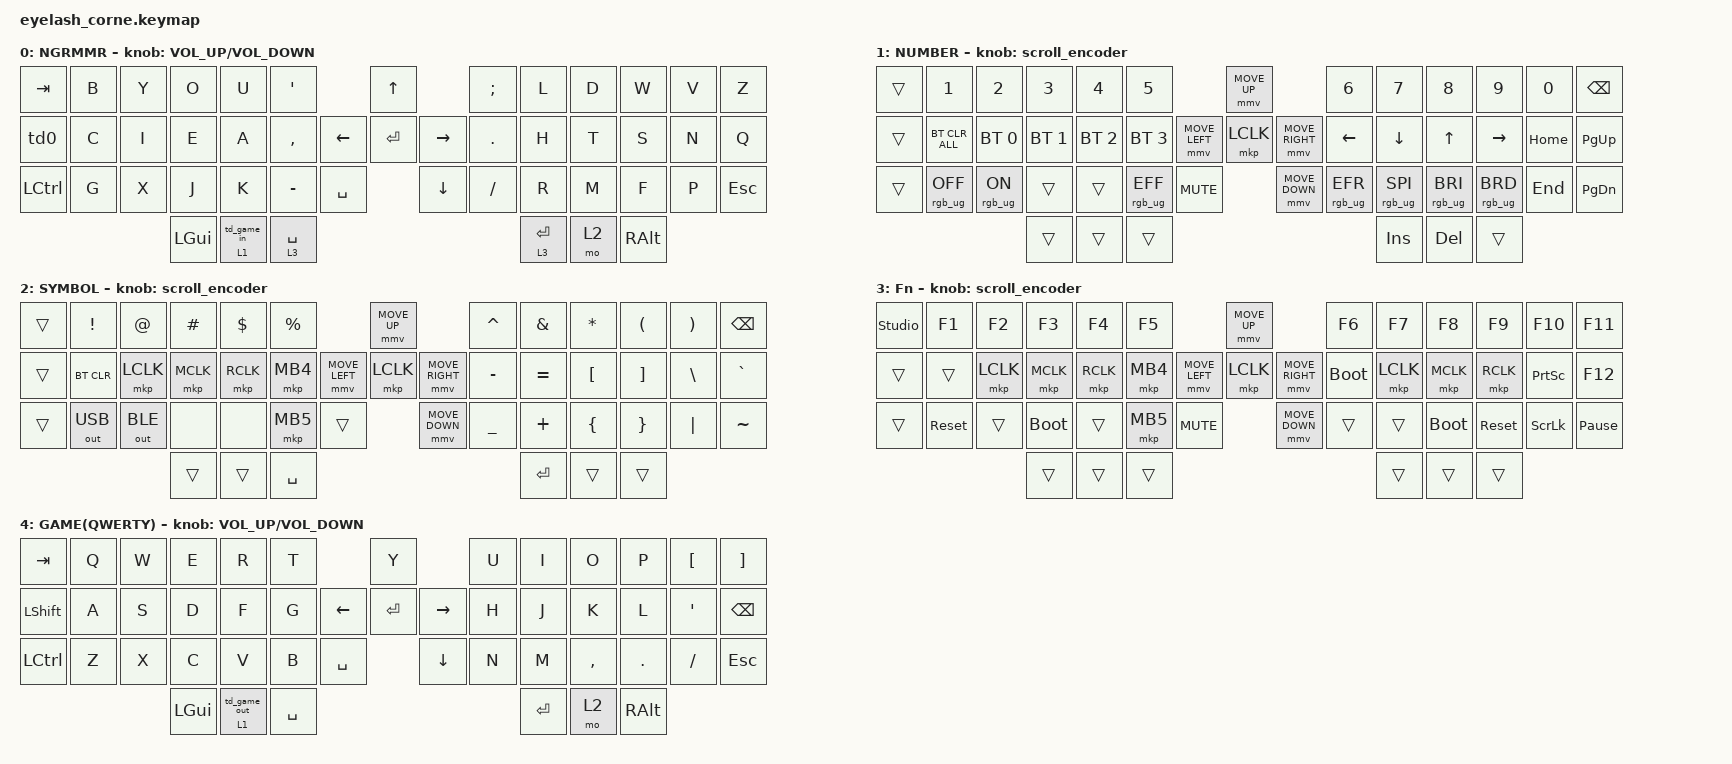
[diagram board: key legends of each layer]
#define ZMK_POINTING_DEFAULT_MOVE_VAL 1200  // 600
#define ZMK_POINTING_DEFAULT_SCRL_VAL 25   // 10

#include <input/processors.dtsi>
#include <zephyr/dt-bindings/input/input-event-codes.h>
#include <behaviors.dtsi>
#include <dt-bindings/zmk/bt.h>
#include <dt-bindings/zmk/keys.h>
#include <dt-bindings/zmk/outputs.h>
#include <dt-bindings/zmk/pointing.h>
#include <dt-bindings/zmk/rgb.h>

&mmv_input_listener { input-processors = <&zip_xy_scaler 2 1>; };

&msc_input_listener { input-processors = <&zip_scroll_scaler 2 1>; };

&msc {
    acceleration-exponent = <1>;      // 0
    time-to-max-speed-ms = <100>;       // 300
    delay-ms = <0>;                   // 0
};

&mmv {
    time-to-max-speed-ms = <500>;
    acceleration-exponent = <1>;
    trigger-period-ms = <16>;
};

&soft_off { hold-time-ms = <2000>; };

/ {
    behaviors {
        td0: td0 {
            compatible = "zmk,behavior-tap-dance";
            display-name = "Shift/Caps Lock Tap Dance";
            #binding-cells = <0>;
            bindings = <&kp LEFT_SHIFT>, <&kp CAPS>;
        };
                td_game_in: td_game_in {
            compatible = "zmk,behavior-tap-dance";
            display-name = "Tap: trans / Double-tap: GO GAME";
            #binding-cells = <0>;
            tapping-term-ms = <250>;
            bindings = <&trans>, <&to 4>;
        };

        ht_game_in: ht_game_in {
            compatible = "zmk,behavior-hold-tap";
            display-name = "Hold: NUMBER / TapDance: GO GAME";
            #binding-cells = <2>;
            flavor = "tap-preferred";
            tapping-term-ms = <200>;
            quick-tap-ms = <175>;
            bindings = <&mo &td_game_in>;
        };

        td_game_out: td_game_out {
            compatible = "zmk,behavior-tap-dance";
            display-name = "Tap: trans / Double-tap: GO BASE";
            #binding-cells = <0>;
            tapping-term-ms = <250>;
            bindings = <&trans>, <&to 0>;
        };

        ht_game_out: ht_game_out {
            compatible = "zmk,behavior-hold-tap";
            display-name = "Hold: NUMBER / TapDance: GO BASE";
            #binding-cells = <2>;
            flavor = "tap-preferred";
            tapping-term-ms = <200>;
            quick-tap-ms = <175>;
            bindings = <&mo &td_game_out>;
        };

    };

    rgb_encoder: rgb_encoder {
        compatible = "zmk,behavior-sensor-rotate";
        #sensor-binding-cells = <0>;
        bindings = <&rgb_ug RGB_BRI>, <&rgb_ug RGB_BRD>;
    };

    scroll_encoder: scroll_encoder {
        compatible = "zmk,behavior-sensor-rotate";
        #sensor-binding-cells = <0>;
        bindings = <&msc SCRL_DOWN>, <&msc SCRL_UP>;

        tap-ms = <100>;
    };

    combos {
        compatible = "zmk,combos";

        softoff {
            bindings = <&soft_off>;
            key-positions = <1 15 29>;
        };
    };

    keymap {
        compatible = "zmk,keymap";

        default_layer {
            display-name = "NGRMMR";
            bindings = <
&kp TAB    &kp B  &kp Y  &kp O     &kp U  &kp SQT                               &kp UP                 &kp SEMI     &kp L  &kp D      &kp W    &kp V  &kp Z
&td0       &kp C  &kp I  &kp E     &kp A  &kp COMMA                    &kp LEFT  &kp ENTER  &kp RIGHT  &kp DOT      &kp H  &kp T      &kp S    &kp N  &kp Q
&kp LCTRL  &kp G  &kp X  &kp J     &kp K  &kp MINUS        &kp SPACE              &kp DOWN             &kp FSLH     &kp R  &kp M      &kp F    &kp P  &kp ESC
                         &kp LGUI  &ht_game_in 1 0  &lt 3 SPACE                                               &lt 3 ENTER  &mo 2  &kp RALT
            >;

            sensor-bindings = <&inc_dec_kp C_VOLUME_UP C_VOLUME_DOWN>;
        };

        lower_layer {
            display-name = "NUMBER";
            bindings = <
&trans  &kp N1           &kp N2          &kp N3        &kp N4        &kp N5                                         &mmv MOVE_UP                     &kp N6           &kp N7           &kp N8           &kp N9           &kp N0    &kp BSPC
&trans  &bt BT_CLR_ALL   &bt BT_SEL 0    &bt BT_SEL 1  &bt BT_SEL 2  &bt BT_SEL 3                   &mmv MOVE_LEFT  &mkp LCLK       &mmv MOVE_RIGHT  &kp LEFT         &kp DOWN         &kp UP           &kp RIGHT        &kp HOME  &kp PG_UP
&trans  &rgb_ug RGB_OFF  &rgb_ug RGB_ON  &trans        &trans        &rgb_ug RGB_EFF  &kp C_MUTE                    &mmv MOVE_DOWN                   &rgb_ug RGB_EFR  &rgb_ug RGB_SPI  &rgb_ug RGB_BRI  &rgb_ug RGB_BRD  &kp END   &kp PG_DN
                                         &trans        &trans        &trans                                                                          &kp INS          &kp DEL          &trans
            >;

            sensor-bindings = <&scroll_encoder>;
        };

        raise_layer {
            display-name = "SYMBOL";
            bindings = <
&trans  &kp EXCL      &kp AT        &kp HASH   &kp DLLR   &kp PRCNT                            &mmv MOVE_UP                     &kp CARET  &kp AMPS   &kp ASTRK  &kp LPAR  &kp RPAR  &kp BSPC
&trans  &bt BT_CLR    &mkp LCLK     &mkp MCLK  &mkp RCLK  &mkp MB4             &mmv MOVE_LEFT  &mkp LCLK       &mmv MOVE_RIGHT  &kp MINUS  &kp EQUAL  &kp LBKT   &kp RBKT  &kp BSLH  &kp GRAVE
&trans  &out OUT_USB  &out OUT_BLE  &none      &none      &mkp MB5   &trans                    &mmv MOVE_DOWN                   &kp UNDER  &kp PLUS   &kp LBRC   &kp RBRC  &kp PIPE  &kp TILDE
                                    &trans     &trans     &kp SPACE                                                             &kp RET    &trans     &trans
            >;

            sensor-bindings = <&scroll_encoder>;
        };

        layer_3 {
            display-name = "Fn";
            bindings = <
&studio_unlock  &kp F1      &kp F2     &kp F3       &kp F4     &kp F5                                  &mmv MOVE_UP                     &kp F6       &kp F7     &kp F8       &kp F9      &kp F10          &kp F11
&trans          &trans      &mkp LCLK  &mkp MCLK    &mkp RCLK  &mkp MB4                &mmv MOVE_LEFT  &mkp LCLK       &mmv MOVE_RIGHT  &bootloader  &mkp LCLK  &mkp MCLK    &mkp RCLK   &kp PRINTSCREEN  &kp F12
&trans          &sys_reset  &trans     &bootloader  &trans     &mkp MB5  &kp C_MUTE                    &mmv MOVE_DOWN                   &trans       &trans     &bootloader  &sys_reset  &kp SCROLLLOCK   &kp PAUSE_BREAK
                                       &trans       &trans     &trans                                                                   &trans       &trans     &trans
            >;

            sensor-bindings = <&scroll_encoder>;
        };
                game_layer {
            display-name = "GAME(QWERTY)";
            bindings = <
&kp TAB    &kp Q  &kp W  &kp E     &kp R  &kp T                                 &kp Y                  &kp U       &kp I      &kp O    &kp P    &kp LBKT &kp RBKT
&kp LSHIFT   &kp A  &kp S  &kp D     &kp F  &kp G                     &kp LEFT   &kp ENTER  &kp RIGHT   &kp H       &kp J       &kp K    &kp L    &kp SQT  &kp BSPC
&kp LCTRL  &kp Z  &kp X  &kp C     &kp V  &kp B           &kp SPACE              &kp DOWN              &kp N       &kp M       &kp COMMA &kp DOT  &kp FSLH  &kp ESC
                         &kp LGUI  &ht_game_out 1 0  &kp SPACE                                               &kp ENTER    &mo 2  &kp RALT
            >;

            sensor-bindings = <&inc_dec_kp C_VOLUME_UP C_VOLUME_DOWN>;
        };

    };
};
